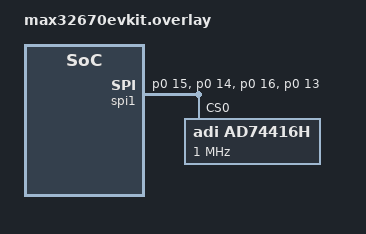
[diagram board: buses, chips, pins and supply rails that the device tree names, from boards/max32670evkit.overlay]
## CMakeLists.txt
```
# Minimum CMake version
cmake_minimum_required(VERSION 3.20.0)

# Add additional modules
set(ZEPHYR_EXTRA_MODULES "${CMAKE_SOURCE_DIR}/../../modules/ad74416h")

# Locate the Zephyr RTOS source
find_package(Zephyr REQUIRED HINTS $ENV{ZEPHYR_BASE})

list(APPEND ZEPHYR_EXTRA_MODULES "${CMAKE_CURRENT_SOURCE_DIR}/../../modules/ad74416h")

# Name the project
project(Test_ad74416h)

# Locate the source code for the application
target_sources(app PRIVATE src/main.c)
```

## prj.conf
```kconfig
CONFIG_GPIO=y
CONFIG_SENSOR=y
CONFIG_SPI=y
CONFIG_AD74416H=y
CONFIG_LOG=y
CONFIG_LOG_DEFAULT_LEVEL=4
```

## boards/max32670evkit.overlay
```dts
/*
 * Copyright (c) 2023 Analog Devices, Inc.
 *
 * SPDX-License-Identifier: Apache-2.0
 */

 /{
    aliases {
        ad74416h-nod = &ad74416h;
    };
};

&spi1 {
	status = "okay";
	pinctrl-0 = <&spi1_mosi_p0_15 &spi1_miso_p0_14 &spi1_sck_p0_16 &spi1_ss0_p0_13>;
	pinctrl-names = "default";

	ad74416h: ad74416h@0{
		compatible = "adi,ad74416h";
		reg = <0x0>;
		spi-max-frequency = <1000000>;
		status = "okay";
			
	};
};
```

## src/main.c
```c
#include <zephyr/kernel.h>
#include <zephyr/device.h>
#include <zephyr/drivers/sensor.h>
#include <stdio.h>

int main(void)
{

    const struct device *const dev = DEVICE_DT_GET_ONE(adi_ad74416h);

	if (!device_is_ready(dev)) {
		printk("device not ready.\n");
		return 0;
	}



	// const struct device *const mcp = DEVICE_DT_GET(DT_ALIAS(ad74416h-nod));
    // const struct device *const mcp = DEVICE_DT_GET(DT_ALIAS(ad74416h));
	// int ret;

    // // Check if the MCP9808 has been initialized (init function called)
	// if (!device_is_ready(mcp)) {
	// 	printf("Device %s is not ready.\n", mcp->name);
	// 	return 0;
	// }

    printf("init\r\n");

    // Loop
    // while (1) 
    // {
    //     struct sensor_value tmp;

    //     // Fetch the temperature value from the sensor into the device's data structure
    //     ret = sensor_sample_fetch(mcp);
    //     if (ret != 0) {
    //         printf("Sample fetch error: %d\n", ret);
    //         return 0;
    //     }

    //     // Copy the temperature value from the device's data structure into the tmp struct
    //     ret = sensor_channel_get(mcp, SENSOR_CHAN_AMBIENT_TEMP, &tmp);
    //     if (ret != 0) {
    //         printf("Channel get error: %d\n", ret);
    //         return 0;
    //     }

    //     // Print the temperature value
    //     printf("Temperature: %d.%06d\n", tmp.val1, tmp.val2);

    //     // Sleep for 1 second
    //     k_sleep(K_SECONDS(1));
    // }
    
    return 0;
}
```
